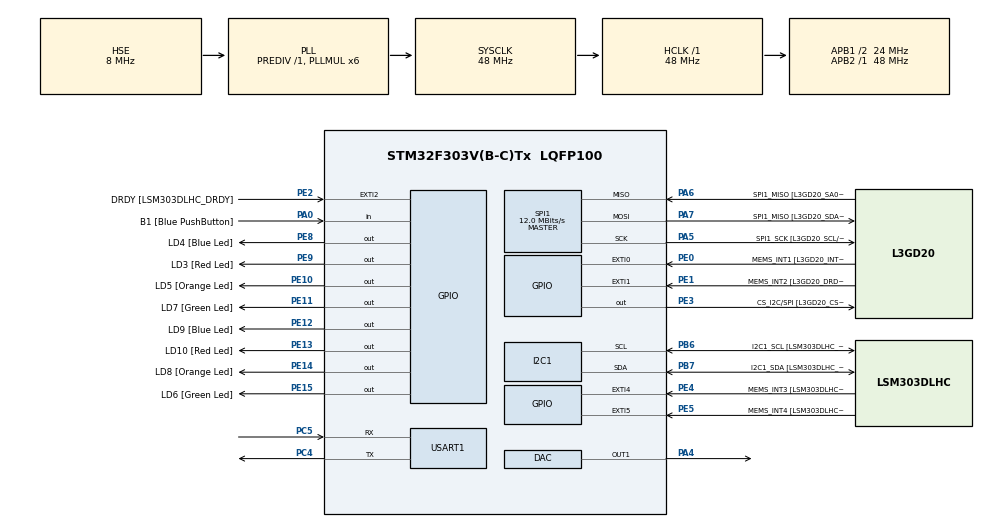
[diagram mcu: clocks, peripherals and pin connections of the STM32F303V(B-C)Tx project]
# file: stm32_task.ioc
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ADC1.Channel-8\#ChannelRegularConversion=ADC_CHANNEL_TEMPSENSOR
ADC1.ClockPrescaler=ADC_CLOCK_ASYNC_DIV1
ADC1.ContinuousConvMode=ENABLE
ADC1.DMAContinuousRequests=ENABLE
ADC1.DataAlign=ADC_DATAALIGN_RIGHT
ADC1.DiscontinuousConvMode=DISABLE
ADC1.EOCSelection=ADC_EOC_SEQ_CONV
ADC1.EnableAnalogWatchDog1=false
ADC1.EnableAnalogWatchDog2=false
ADC1.EnableAnalogWatchDog3=false
ADC1.EnableInjectedConversion=ENABLE
ADC1.EnableRegularConversion=ENABLE
ADC1.ExternalTrigConv=ADC_EXTERNALTRIGCONV_T3_TRGO
ADC1.ExternalTrigConvEdge=ADC_EXTERNALTRIGCONVEDGE_RISING
ADC1.InjNumberOfConversion=0
ADC1.LowPowerAutoWait=DISABLE
ADC1.NbrOfConversion=1
ADC1.NbrOfConversionFlag=1
ADC1.Offset-8\#ChannelRegularConversion=0
ADC1.OffsetNumber-8\#ChannelRegularConversion=ADC_OFFSET_NONE
ADC1.Overrun=ADC_OVR_DATA_OVERWRITTEN
ADC1.Rank-8\#ChannelRegularConversion=1
ADC1.Resolution=ADC_RESOLUTION_12B
ADC1.SamplingTime-8\#ChannelRegularConversion=ADC_SAMPLETIME_1CYCLE_5
ADC1.ScanConvMode=ADC_SCAN_DISABLE
ADC1.master=1
DAC.DAC_Trigger=DAC_TRIGGER_T3_TRGO
DAC.WaveGeneration=DISABLE
Dma.ADC1.3.Direction=DMA_PERIPH_TO_MEMORY
Dma.ADC1.3.Instance=DMA1_Channel1
Dma.ADC1.3.MemDataAlignment=DMA_MDATAALIGN_WORD
Dma.ADC1.3.MemInc=DMA_MINC_ENABLE
Dma.ADC1.3.Mode=DMA_CIRCULAR
Dma.ADC1.3.PeriphDataAlignment=DMA_PDATAALIGN_WORD
Dma.ADC1.3.PeriphInc=DMA_PINC_DISABLE
Dma.ADC1.3.Priority=DMA_PRIORITY_MEDIUM
Dma.DAC_CH1.2.Direction=DMA_MEMORY_TO_PERIPH
Dma.DAC_CH1.2.Instance=DMA2_Channel3
Dma.DAC_CH1.2.MemDataAlignment=DMA_MDATAALIGN_WORD
Dma.DAC_CH1.2.MemInc=DMA_MINC_ENABLE
Dma.DAC_CH1.2.Mode=DMA_CIRCULAR
Dma.DAC_CH1.2.PeriphDataAlignment=DMA_PDATAALIGN_WORD
Dma.DAC_CH1.2.PeriphInc=DMA_PINC_DISABLE
Dma.DAC_CH1.2.Priority=DMA_PRIORITY_LOW
Dma.Request0=USART1_TX
Dma.Request1=USART1_RX
Dma.Request2=DAC_CH1
Dma.Request3=ADC1
Dma.USART1_RX.1.Direction=DMA_PERIPH_TO_MEMORY
Dma.USART1_RX.1.Instance=DMA1_Channel5
Dma.USART1_RX.1.MemDataAlignment=DMA_MDATAALIGN_BYTE
Dma.USART1_RX.1.MemInc=DMA_MINC_ENABLE
Dma.USART1_RX.1.Mode=DMA_NORMAL
Dma.USART1_RX.1.PeriphDataAlignment=DMA_PDATAALIGN_BYTE
Dma.USART1_RX.1.PeriphInc=DMA_PINC_DISABLE
Dma.USART1_RX.1.Priority=DMA_PRIORITY_LOW
Dma.USART1_TX.0.Direction=DMA_MEMORY_TO_PERIPH
Dma.USART1_TX.0.Instance=DMA1_Channel4
Dma.USART1_TX.0.MemDataAlignment=DMA_MDATAALIGN_BYTE
Dma.USART1_TX.0.MemInc=DMA_MINC_ENABLE
Dma.USART1_TX.0.Mode=DMA_NORMAL
Dma.USART1_TX.0.PeriphDataAlignment=DMA_PDATAALIGN_BYTE
Dma.USART1_TX.0.PeriphInc=DMA_PINC_DISABLE
Dma.USART1_TX.0.Priority=DMA_PRIORITY_LOW
FREERTOS.BinarySemaphores01=CMD_Semaphores,Dynamic,NULL;ANS_Semaphores,Dynamic,NULL
FREERTOS.Tasks01=defaultTask,0,128,StartDefaultTask,Default,NULL,Dynamic,NULL,NULL;Command_Task,0,640,Start_Command_Task,Default,NULL,Dynamic,NULL,NULL
FREERTOS.configTOTAL_HEAP_SIZE=4096
I2C1.Timing=0x2000090E
I2C1.Timing-I2C=0x2000090E
Mcu.Family=STM32F3
Mcu.Name=STM32F303V(B-C)Tx
Mcu.Package=LQFP100
NVIC.DMA1_Channel1_IRQn=true\:5\:0\:false\:false\:true\:true\:false
NVIC.DMA1_Channel4_IRQn=true\:5\:0\:false\:false\:true\:true\:false
NVIC.DMA1_Channel5_IRQn=true\:5\:0\:false\:false\:true\:true\:false
NVIC.DMA2_Channel3_IRQn=true\:0\:0\:false\:false\:true\:false\:false
NVIC.PriorityGroup=NVIC_PRIORITYGROUP_4
NVIC.TIM1_UP_TIM16_IRQn=true\:0\:0\:false\:false\:true\:false\:false
NVIC.TIM3_IRQn=true\:5\:0\:false\:false\:true\:true\:true
NVIC.TimeBase=TIM1_UP_TIM16_IRQn
NVIC.TimeBaseIP=TIM1
NVIC.USART1_IRQn=true\:5\:0\:false\:false\:true\:true\:true
PA0.GPIO_Label=B1 [Blue PushButton]
PA0.Signal=GPIO_Input
PA11.GPIO_Label=DM
PA11.Signal=USB_DM
PA12.GPIO_Label=DP
PA12.Signal=USB_DP
PA13.GPIO_Label=SWDIO
PA13.Mode=Serial_Wire
PA13.Signal=SYS_JTMS-SWDIO
PA14.GPIO_Label=SWCLK
PA14.Mode=Serial_Wire
PA14.Signal=SYS_JTCK-SWCLK
PA4.Signal=COMP_DAC1_group
PA5.GPIO_Label=SPI1_SCK [L3GD20_SCL/SPC]
PA5.Mode=Full_Duplex_Master
PA5.Signal=SPI1_SCK
PA6.GPIO_Label=SPI1_MISO [L3GD20_SA0/SDO]
PA6.Mode=Full_Duplex_Master
PA6.Signal=SPI1_MISO
PA7.GPIO_Label=SPI1_MISO [L3GD20_SDA/SDI/SDO]
PA7.Mode=Full_Duplex_Master
PA7.Signal=SPI1_MOSI
PB3.GPIO_Label=SWO
PB3.Signal=SYS_JTDO-TRACESWO
PB6.GPIO_Label=I2C1_SCL [LSM303DLHC_SCL]
PB6.Mode=I2C
PB6.Signal=I2C1_SCL
PB7.GPIO_Label=I2C1_SDA [LSM303DLHC_SDA]
PB7.Mode=I2C
PB7.Signal=I2C1_SDA
PC14-OSC32_IN.GPIO_Label=OSC32_IN
PC14-OSC32_IN.Signal=RCC_OSC32_IN
PC15-OSC32_OUT.GPIO_Label=OSC32_OUT
PC15-OSC32_OUT.Signal=RCC_OSC32_OUT
PC4.Mode=Asynchronous
PC4.Signal=USART1_TX
PC5.Mode=Asynchronous
PC5.Signal=USART1_RX
PE0.GPIO_Label=MEMS_INT1 [L3GD20_INT1]
PE0.GPIO_ModeDefaultEXTI=GPIO_MODE_EVT_RISING
PE0.Signal=GPXTI0
PE1.GPIO_Label=MEMS_INT2 [L3GD20_DRDY/INT2]
PE1.GPIO_ModeDefaultEXTI=GPIO_MODE_EVT_RISING
PE1.Signal=GPXTI1
PE10.GPIO_Label=LD5 [Orange Led]
PE10.Signal=GPIO_Output
PE11.GPIO_Label=LD7 [Green Led]
PE11.Signal=GPIO_Output
PE12.GPIO_Label=LD9 [Blue Led]
PE12.Signal=GPIO_Output
PE13.GPIO_Label=LD10 [Red Led]
PE13.Signal=GPIO_Output
PE14.GPIO_Label=LD8 [Orange Led]
PE14.Signal=GPIO_Output
PE15.GPIO_Label=LD6 [Green Led]
PE15.Signal=GPIO_Output
PE2.GPIO_Label=DRDY [LSM303DLHC_DRDY]
PE2.GPIO_ModeDefaultEXTI=GPIO_MODE_EVT_RISING
PE2.Signal=GPXTI2
PE3.GPIO_Label=CS_I2C/SPI [L3GD20_CS_I2C/SPI]
PE3.Signal=GPIO_Output
PE4.GPIO_Label=MEMS_INT3 [LSM303DLHC_INT1]
PE4.GPIO_ModeDefaultEXTI=GPIO_MODE_EVT_RISING
PE4.Signal=GPXTI4
PE5.GPIO_Label=MEMS_INT4 [LSM303DLHC_INT2]
PE5.GPIO_ModeDefaultEXTI=GPIO_MODE_EVT_RISING
PE5.Signal=GPXTI5
PE8.GPIO_Label=LD4 [Blue Led]
PE8.Signal=GPIO_Output
PE9.GPIO_Label=LD3 [Red Led]
PE9.Signal=GPIO_Output
PF0-OSC_IN.GPIO_Label=OSC_IN
PF0-OSC_IN.Mode=HSE-External-Clock-Source
PF0-OSC_IN.Signal=RCC_OSC_IN
PF1-OSC_OUT.GPIO_Label=OSC_OUT
PF1-OSC_OUT.Signal=RCC_OSC_OUT
ProjectManager.HeapSize=0x200
ProjectManager.StackSize=0x400
ProjectManager.TargetToolchain=SW4STM32
RCC.AHBFreq_Value=48000000
RCC.APB1CLKDivider=RCC_HCLK_DIV2
RCC.APB1Freq_Value=24000000
RCC.APB1TimFreq_Value=48000000
RCC.APB2Freq_Value=48000000
RCC.APB2TimFreq_Value=48000000
RCC.CortexFreq_Value=48000000
RCC.EnbaleCSS=true
RCC.HCLKFreq_Value=48000000
RCC.HSE_VALUE=8000000
RCC.HSI_VALUE=8000000
RCC.LSE_VALUE=32768
RCC.PLLMUL=RCC_PLL_MUL6
RCC.PLLSourceVirtual=RCC_PLLSOURCE_HSE
RCC.SYSCLKFreq_VALUE=48000000
RCC.SYSCLKSourceVirtual=RCC_SYSCLKSOURCE_PLLCLK
RCC.USBFreq_Value=48000000
SH.COMP_DAC1_group.0=DAC_OUT1,DAC_OUT1
SPI1.BaudRatePrescaler=SPI_BAUDRATEPRESCALER_4
SPI1.BaudRatePrescaler-Full_Duplex_Master=SPI_BAUDRATEPRESCALER_2
SPI1.CalculateBaudRate=12.0 MBits/s
SPI1.CalculateBaudRate-Full_Duplex_Master=24.0 MBits/s
SPI1.Direction=SPI_DIRECTION_2LINES
SPI1.Mode=SPI_MODE_MASTER
SPI1.Mode-Full_Duplex_Master=SPI_MODE_MASTER
SPI1.VirtualType=VM_MASTER
TIM3.Period=999
TIM3.Prescaler=48
TIM3.TIM_MasterOutputTrigger=TIM_TRGO_UPDATE
USART1.VirtualMode-Asynchronous=VM_ASYNC
VP_ADC1_TempSens_Input.Mode=IN-TempSens
VP_FREERTOS_VS_ENABLE.Mode=Enabled
VP_SYS_VS_tim1.Mode=TIM1
VP_TIM3_VS_ClockSourceINT.Mode=Internal
board=STM32F3DISCOVERY

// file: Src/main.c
/**
  ******************************************************************************
  * @file           : main.c
  * @brief          : Main program body
  ******************************************************************************
  * This notice applies to any and all portions of this file
  * that are not between comment pairs USER CODE BEGIN and
  * USER CODE END. Other portions of this file, whether
  * inserted by the user or by software development tools
  * are owned by their respective copyright owners.
  *
  * Copyright (c) 2018 STMicroelectronics International N.V.
  * All rights reserved.
  *
  * Redistribution and use in source and binary forms, with or without
  * modification, are permitted, provided that the following conditions are met:
  *
  * 1. Redistribution of source code must retain the above copyright notice,
  *    this list of conditions and the following disclaimer.
  * 2. Redistributions in binary form must reproduce the above copyright notice,
  *    this list of conditions and the following disclaimer in the documentation
  *    and/or other materials provided with the distribution.
  * 3. Neither the name of STMicroelectronics nor the names of other
  *    contributors to this software may be used to endorse or promote products
  *    derived from this software without specific written permission.
  * 4. This software, including modifications and/or derivative works of this
  *    software, must execute solely and exclusively on microcontroller or
  *    microprocessor devices manufactured by or for STMicroelectronics.
  * 5. Redistribution and use of this software other than as permitted under
  *    this license is void and will automatically terminate your rights under
  *    this license.
  *
  * THIS SOFTWARE IS PROVIDED BY STMICROELECTRONICS AND CONTRIBUTORS "AS IS"
  * AND ANY EXPRESS, IMPLIED OR STATUTORY WARRANTIES, INCLUDING, BUT NOT
  * LIMITED TO, THE IMPLIED WARRANTIES OF MERCHANTABILITY, FITNESS FOR A
  * PARTICULAR PURPOSE AND NON-INFRINGEMENT OF THIRD PARTY INTELLECTUAL PROPERTY
  * RIGHTS ARE DISCLAIMED TO THE FULLEST EXTENT PERMITTED BY LAW. IN NO EVENT
  * SHALL STMICROELECTRONICS OR CONTRIBUTORS BE LIABLE FOR ANY DIRECT, INDIRECT,
  * INCIDENTAL, SPECIAL, EXEMPLARY, OR CONSEQUENTIAL DAMAGES (INCLUDING, BUT NOT
  * LIMITED TO, PROCUREMENT OF SUBSTITUTE GOODS OR SERVICES; LOSS OF USE, DATA,
  * OR PROFITS; OR BUSINESS INTERRUPTION) HOWEVER CAUSED AND ON ANY THEORY OF
  * LIABILITY, WHETHER IN CONTRACT, STRICT LIABILITY, OR TORT (INCLUDING
  * NEGLIGENCE OR OTHERWISE) ARISING IN ANY WAY OUT OF THE USE OF THIS SOFTWARE,
  * EVEN IF ADVISED OF THE POSSIBILITY OF SUCH DAMAGE.
  *
  ******************************************************************************
  */
#include "main.h"
#include "stm32f3xx_hal.h"
#include "cmsis_os.h"
#include "adc.h"
#include "dac.h"
#include "dma.h"
#include "i2c.h"
#include "spi.h"
#include "tim.h"
#include "usart.h"
#include "gpio.h"

/* USER CODE BEGIN PV */
/* Private variables ---------------------------------------------------------*/
uint32_t ADC_Buffer[1000];
uint8_t Read_Voltage = 0;
/* USER CODE END PV */

void SystemClock_Config(void);
void MX_FREERTOS_Init(void);

/* USER CODE BEGIN PFP */
/* Private function prototypes -----------------------------------------------*/

/* USER CODE END PFP */

/* USER CODE BEGIN 0 */

void HAL_ADC_ConvHalfCpltCallback(ADC_HandleTypeDef* hadc)
{
	if (hadc == &hadc1)
		Read_Voltage = 1;

}
/* USER CODE END 0 */

int main(void)
{

  /* MCU Configuration----------------------------------------------------------*/

  /* Reset of all peripherals, Initializes the Flash interface and the Systick. */
  HAL_Init();

  /* Configure the system clock */
  SystemClock_Config();

  /* Initialize all configured peripherals */
  MX_GPIO_Init();
  MX_DMA_Init();
  MX_I2C1_Init();
  MX_SPI1_Init();
  MX_USART1_UART_Init();
  MX_ADC1_Init();
  MX_DAC_Init();
  MX_TIM3_Init();
  /* USER CODE BEGIN 2 */

  __HAL_UART_CLEAR_FLAG(&huart1, UART_FLAG_IDLE);

  if(HAL_TIM_Base_Start_IT(&htim3) != HAL_OK)
	  Error_Handler();

  if(HAL_ADC_Start_DMA(&hadc1, ADC_Buffer, 1000) != HAL_OK)
	  Error_Handler();

  if (HAL_DAC_Start_DMA(&hdac, DAC_CHANNEL_1, ADC_Buffer, 1000, DAC_ALIGN_12B_R))
	  Error_Handler();
  /* USER CODE END 2 */

  /* Call init function for freertos objects (in freertos.c) */
  MX_FREERTOS_Init();

  /* Start scheduler */
  osKernelStart();

  /* We should never get here as control is now taken by the scheduler */

  /* Infinite loop */
  while (1)
  {

  }

}

void SystemClock_Config(void)
{

  RCC_OscInitTypeDef RCC_OscInitStruct;
  RCC_ClkInitTypeDef RCC_ClkInitStruct;
  RCC_PeriphCLKInitTypeDef PeriphClkInit;

    /**Initializes the CPU, AHB and APB busses clocks
    */
  RCC_OscInitStruct.OscillatorType = RCC_OSCILLATORTYPE_HSI|RCC_OSCILLATORTYPE_HSE;
  RCC_OscInitStruct.HSEState = RCC_HSE_BYPASS;
  RCC_OscInitStruct.HSEPredivValue = RCC_HSE_PREDIV_DIV1;
  RCC_OscInitStruct.HSIState = RCC_HSI_ON;
  RCC_OscInitStruct.HSICalibrationValue = 16;
  RCC_OscInitStruct.PLL.PLLState = RCC_PLL_ON;
  RCC_OscInitStruct.PLL.PLLSource = RCC_PLLSOURCE_HSE;
  RCC_OscInitStruct.PLL.PLLMUL = RCC_PLL_MUL6;
  if (HAL_RCC_OscConfig(&RCC_OscInitStruct) != HAL_OK)
  {
    _Error_Handler(__FILE__, __LINE__);
  }

    /**Initializes the CPU, AHB and APB busses clocks
    */
  RCC_ClkInitStruct.ClockType = RCC_CLOCKTYPE_HCLK|RCC_CLOCKTYPE_SYSCLK
                              |RCC_CLOCKTYPE_PCLK1|RCC_CLOCKTYPE_PCLK2;
  RCC_ClkInitStruct.SYSCLKSource = RCC_SYSCLKSOURCE_PLLCLK;
  RCC_ClkInitStruct.AHBCLKDivider = RCC_SYSCLK_DIV1;
  RCC_ClkInitStruct.APB1CLKDivider = RCC_HCLK_DIV2;
  RCC_ClkInitStruct.APB2CLKDivider = RCC_HCLK_DIV1;

  if (HAL_RCC_ClockConfig(&RCC_ClkInitStruct, FLASH_LATENCY_1) != HAL_OK)
  {
    _Error_Handler(__FILE__, __LINE__);
  }

  PeriphClkInit.PeriphClockSelection = RCC_PERIPHCLK_USART1|RCC_PERIPHCLK_I2C1
                              |RCC_PERIPHCLK_ADC12;
  PeriphClkInit.Usart1ClockSelection = RCC_USART1CLKSOURCE_PCLK2;
  PeriphClkInit.Adc12ClockSelection = RCC_ADC12PLLCLK_DIV1;
  PeriphClkInit.I2c1ClockSelection = RCC_I2C1CLKSOURCE_HSI;
  if (HAL_RCCEx_PeriphCLKConfig(&PeriphClkInit) != HAL_OK)
  {
    _Error_Handler(__FILE__, __LINE__);
  }

    /**Enables the Clock Security System
    */
  HAL_RCC_EnableCSS();

    /**Configure the Systick interrupt time
    */
  HAL_SYSTICK_Config(HAL_RCC_GetHCLKFreq()/1000);

    /**Configure the Systick
    */
  HAL_SYSTICK_CLKSourceConfig(SYSTICK_CLKSOURCE_HCLK);

  /* SysTick_IRQn interrupt configuration */
  HAL_NVIC_SetPriority(SysTick_IRQn, 15, 0);
}

void HAL_TIM_PeriodElapsedCallback(TIM_HandleTypeDef *htim)
{
  if (htim->Instance == TIM1) {
    HAL_IncTick();
  }
}

void _Error_Handler(char *file, int line)
{
  while(1)
  {
  }
}

/************************ (C) COPYRIGHT STMicroelectronics *****END OF FILE****/

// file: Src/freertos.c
/**
  ******************************************************************************
  * File Name          : freertos.c
  * Description        : Code for freertos applications
  ******************************************************************************
  * This notice applies to any and all portions of this file
  * that are not between comment pairs USER CODE BEGIN and
  * USER CODE END. Other portions of this file, whether
  * inserted by the user or by software development tools
  * are owned by their respective copyright owners.
  *
  * Copyright (c) 2018 STMicroelectronics International N.V.
  * All rights reserved.
  *
  * Redistribution and use in source and binary forms, with or without
  * modification, are permitted, provided that the following conditions are met:
  *
  * 1. Redistribution of source code must retain the above copyright notice,
  *    this list of conditions and the following disclaimer.
  * 2. Redistributions in binary form must reproduce the above copyright notice,
  *    this list of conditions and the following disclaimer in the documentation
  *    and/or other materials provided with the distribution.
  * 3. Neither the name of STMicroelectronics nor the names of other
  *    contributors to this software may be used to endorse or promote products
  *    derived from this software without specific written permission.
  * 4. This software, including modifications and/or derivative works of this
  *    software, must execute solely and exclusively on microcontroller or
  *    microprocessor devices manufactured by or for STMicroelectronics.
  * 5. Redistribution and use of this software other than as permitted under
  *    this license is void and will automatically terminate your rights under
  *    this license.
  *
  * THIS SOFTWARE IS PROVIDED BY STMICROELECTRONICS AND CONTRIBUTORS "AS IS"
  * AND ANY EXPRESS, IMPLIED OR STATUTORY WARRANTIES, INCLUDING, BUT NOT
  * LIMITED TO, THE IMPLIED WARRANTIES OF MERCHANTABILITY, FITNESS FOR A
  * PARTICULAR PURPOSE AND NON-INFRINGEMENT OF THIRD PARTY INTELLECTUAL PROPERTY
  * RIGHTS ARE DISCLAIMED TO THE FULLEST EXTENT PERMITTED BY LAW. IN NO EVENT
  * SHALL STMICROELECTRONICS OR CONTRIBUTORS BE LIABLE FOR ANY DIRECT, INDIRECT,
  * INCIDENTAL, SPECIAL, EXEMPLARY, OR CONSEQUENTIAL DAMAGES (INCLUDING, BUT NOT
  * LIMITED TO, PROCUREMENT OF SUBSTITUTE GOODS OR SERVICES; LOSS OF USE, DATA,
  * OR PROFITS; OR BUSINESS INTERRUPTION) HOWEVER CAUSED AND ON ANY THEORY OF
  * LIABILITY, WHETHER IN CONTRACT, STRICT LIABILITY, OR TORT (INCLUDING
  * NEGLIGENCE OR OTHERWISE) ARISING IN ANY WAY OUT OF THE USE OF THIS SOFTWARE,
  * EVEN IF ADVISED OF THE POSSIBILITY OF SUCH DAMAGE.
  *
  ******************************************************************************
  */

#include "FreeRTOS.h"
#include "task.h"
#include "cmsis_os.h"

osThreadId defaultTaskHandle;
osThreadId Command_TaskHandle;
osSemaphoreId CMD_SemaphoresHandle;
osSemaphoreId ANS_SemaphoresHandle;

void StartDefaultTask(void const * argument);
void Start_Command_Task(void const * argument);

void MX_FREERTOS_Init(void); /* (MISRA C 2004 rule 8.1) */

/* USER CODE BEGIN FunctionPrototypes */
extern void (*Application_Background)(void const *argument);
extern void (*Application_Command)(void const *argument);
/* USER CODE END FunctionPrototypes */

/* Hook prototypes */

/* Init FreeRTOS */

void MX_FREERTOS_Init(void) {

  /* Create the semaphores(s) */
  /* definition and creation of CMD_Semaphores */
  osSemaphoreDef(CMD_Semaphores);
  CMD_SemaphoresHandle = osSemaphoreCreate(osSemaphore(CMD_Semaphores), 1);

  /* definition and creation of ANS_Semaphores */
  osSemaphoreDef(ANS_Semaphores);
  ANS_SemaphoresHandle = osSemaphoreCreate(osSemaphore(ANS_Semaphores), 1);

  /* Create the thread(s) */
  /* definition and creation of defaultTask */
  osThreadDef(defaultTask, StartDefaultTask, osPriorityNormal, 0, 128);
  defaultTaskHandle = osThreadCreate(osThread(defaultTask), NULL);

  /* definition and creation of Command_Task */
  osThreadDef(Command_Task, Start_Command_Task, osPriorityNormal, 0, 640);
  Command_TaskHandle = osThreadCreate(osThread(Command_Task), NULL);

}

/* StartDefaultTask function */
void StartDefaultTask(void const * argument)
{

  /* USER CODE BEGIN StartDefaultTask */
  /* Infinite loop */
  Application_Background(argument);
  /* USER CODE END StartDefaultTask */
}

/* Start_Command_Task function */
void Start_Command_Task(void const * argument)
{
  /* USER CODE BEGIN Start_Command_Task */
  /* Infinite loop */
  Application_Command(argument);
  /* USER CODE END Start_Command_Task */
}

/************************ (C) COPYRIGHT STMicroelectronics *****END OF FILE****/
